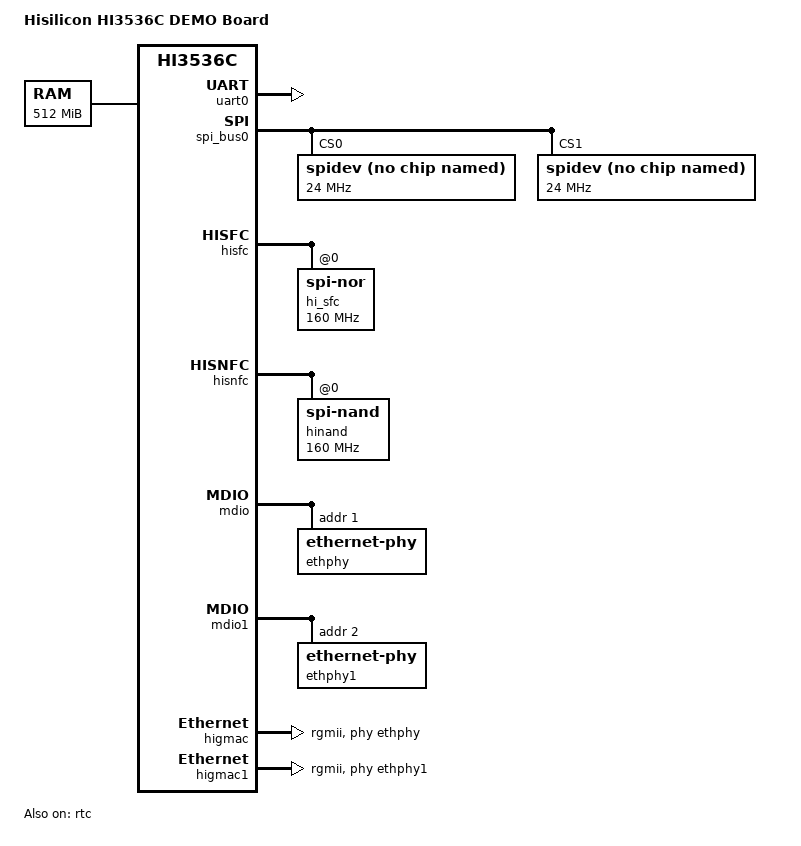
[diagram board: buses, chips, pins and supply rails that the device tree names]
/*
 * Copyright (c) 2013-2014 Linaro Ltd.
 * Copyright (c) 2015-2017 HiSilicon Technologies Co., Ltd.
 *
 * This program is free software; you can redistribute  it and/or modify it
 * under  the terms of  the GNU General  Public License as published by the
 * Free Software Foundation;  either version 2 of the  License, or (at your
 * option) any later version.
 *
 * This program is distributed in the hope that it will be useful,
 * but WITHOUT ANY WARRANTY; without even the implied warranty of
 * MERCHANTABILITY or FITNESS FOR A PARTICULAR PURPOSE. See the
 * GNU General Public License for more details.
 *
 * You should have received a copy of the GNU General Public License
 * along with this program.  If not, see <http://www.gnu.org/licenses/>.
 *
 */

/dts-v1/;
#include "hi3536c.dtsi"

/ {
	model = "Hisilicon HI3536C DEMO Board";
	compatible = "hisilicon,hi3536c";

	cpus {
		#address-cells = <1>;
		#size-cells = <0>;
		enable-method = "hisilicon,hi3536c-smp";

		cpu@0 {
			compatible = "arm,cortex-a7";
			device_type = "cpu";
			clock-frequency = <HI3536C_FIXED_1500M>;
			reg = <0>;
		};

		cpu@1 {
			compatible = "arm,cortex-a7";
			device_type = "cpu";
			clock-frequency = <HI3536C_FIXED_1500M>;
			reg = <1>;
		};
	};

	memory {
		device_type = "memory";
		reg = <0x80000000 0x20000000>;
	};
};

&uart0 {
	status = "okay";
};

&rtc {
	status = "okay";
};

&spi_bus0{
	status = "okay";
	num-cs = <2>;

	spidev@0 {
		compatible = "spidev";
		reg = <0>;
		pl022,interface = <0>;
		pl022,com_mode = <0>;
		spi-max-frequency = <24000000>;
	};

	spidev@1 {
		compatible = "spidev";
		reg = <1>;
		pl022,interface = <0>;
		pl022,com_mode = <0>;
		spi-max-frequency = <24000000>;
	};
};

&hisfc {
	hi_sfc {
		compatible = "jedec,spi-nor";
		reg = <0>;
		spi-max-frequency = <160000000>;
		m25p,fast-read;
	};
};

&hisnfc {
	hinand {
		compatible = "jedec,spi-nand";
		reg = <0>;
		spi-max-frequency = <160000000>;
	};
};

&mdio {
	ethphy: ethernet-phy@1 {
		reg = <1>;
	};
};
&mdio1 {
	ethphy1: ethernet-phy@2 {
		reg = <2>;
	};
};

&higmac {
	phy-handle = <&ethphy>;
	phy-mode = "rgmii";
};
&higmac1 {
	phy-handle = <&ethphy1>;
	phy-mode = "rgmii";
};
